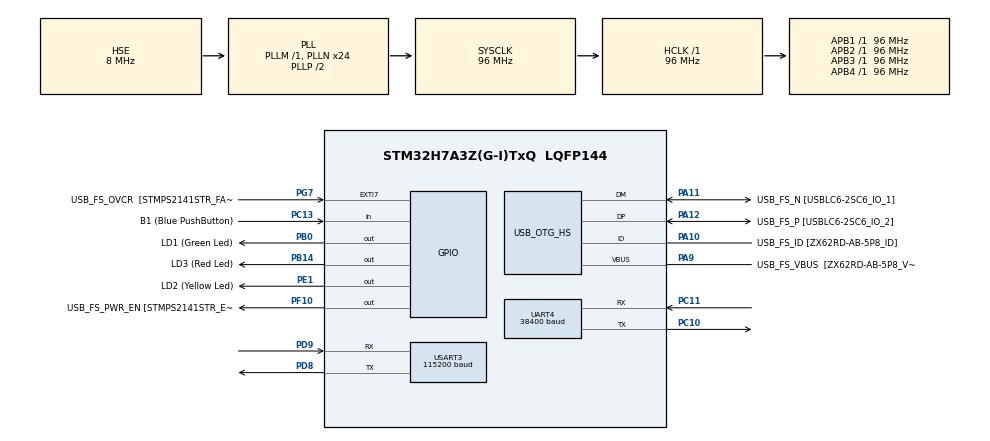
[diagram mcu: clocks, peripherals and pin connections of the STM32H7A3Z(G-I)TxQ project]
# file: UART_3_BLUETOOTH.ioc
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Mcu.Family=STM32H7
Mcu.Name=STM32H7A3Z(G-I)TxQ
Mcu.Package=LQFP144
NVIC.PriorityGroup=NVIC_PRIORITYGROUP_4
NVIC.UART4_IRQn=true\:0\:0\:false\:false\:true\:true\:true\:true
NVIC.USART3_IRQn=true\:0\:0\:false\:false\:true\:true\:true\:true
PA10.GPIO_Label=USB_FS_ID [ZX62RD-AB-5P8_ID]
PA10.Mode=OTG/Dual-Role-Device-FS
PA10.Signal=USB_OTG_HS_ID
PA11.GPIO_Label=USB_FS_N [USBLC6-2SC6_IO_1]
PA11.Mode=OTG/Dual-Role-Device-FS
PA11.Signal=USB_OTG_HS_DM
PA12.GPIO_Label=USB_FS_P [USBLC6-2SC6_IO_2]
PA12.Mode=OTG/Dual-Role-Device-FS
PA12.Signal=USB_OTG_HS_DP
PA9.GPIO_Label=USB_FS_VBUS  [ZX62RD-AB-5P8_VBUS]
PA9.Mode=Activate_VBUS_FS
PA9.Signal=USB_OTG_HS_VBUS
PB0.GPIO_Label=LD1 (Green Led)
PB0.Signal=GPIO_Output
PB14.GPIO_Label=LD3 (Red Led)
PB14.Signal=GPIO_Output
PC10.Mode=Asynchronous
PC10.Signal=UART4_TX
PC11.Mode=Asynchronous
PC11.Signal=UART4_RX
PC13.GPIO_Label=B1 (Blue PushButton)
PC13.Signal=GPIO_Input
PC14-OSC32_IN.GPIO_Label=OSC32_IN
PC14-OSC32_IN.Signal=RCC_OSC32_IN
PC15-OSC32_OUT.GPIO_Label=OSC32_OUT
PC15-OSC32_OUT.Signal=RCC_OSC32_OUT
PD8.Mode=Asynchronous
PD8.Signal=USART3_TX
PD9.Mode=Asynchronous
PD9.Signal=USART3_RX
PE1.GPIO_Label=LD2 (Yellow Led)
PE1.Signal=GPIO_Output
PF10.GPIO_Label=USB_FS_PWR_EN [STMPS2141STR_EN]
PF10.Signal=GPIO_Output
PG7.GPIO_Label=USB_FS_OVCR  [STMPS2141STR_FAULT]
PG7.Signal=GPXTI7
PH0-OSC_IN.GPIO_Label=PH0-MCU
PH0-OSC_IN.Mode=HSE-External-Oscillator
PH0-OSC_IN.Signal=RCC_OSC_IN
PH1-OSC_OUT.GPIO_Label=PH1-MCU
PH1-OSC_OUT.Mode=HSE-External-Oscillator
PH1-OSC_OUT.Signal=RCC_OSC_OUT
ProjectManager.HeapSize=0x200
ProjectManager.StackSize=0x400
ProjectManager.TargetToolchain=STM32CubeIDE
RCC.ADCFreq_Value=16125000
RCC.APB1Freq_Value=96000000
RCC.APB2Freq_Value=96000000
RCC.APB3Freq_Value=96000000
RCC.APB4Freq_Value=96000000
RCC.CortexFreq_Value=96000000
RCC.DIVM1=1
RCC.DIVM3=1
RCC.DIVN1=24
RCC.DIVN3=24
RCC.DIVQ1=4
RCC.HCLKFreq_Value=96000000
RCC.HSE_VALUE=8000000
RCC.PLLFRACN=0
RCC.PLLSourceVirtual=RCC_PLLSOURCE_HSE
RCC.PWR_Regulator_Voltage_Scale=PWR_REGULATOR_VOLTAGE_SCALE0
RCC.SYSCLKFreq_VALUE=96000000
RCC.SYSCLKSource=RCC_SYSCLKSOURCE_PLLCLK
RCC.SupplySource=PWR_DIRECT_SMPS_SUPPLY
RCC.USBCLockSelection=RCC_USBCLKSOURCE_HSI48
RCC.USBFreq_Value=48000000
UART4.BaudRate=38400
USART3.BaudRate=115200
USART3.VirtualMode-Asynchronous=VM_ASYNC
board=NUCLEO-H7A3ZI-Q

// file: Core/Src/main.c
/* USER CODE BEGIN Header */
/**
  ******************************************************************************
  * @file           : main.c
  * @brief          : Main program body
  ******************************************************************************
  * @attention
  *
  * Copyright (c) 2024 STMicroelectronics.
  * All rights reserved.
  *
  * This software is licensed under terms that can be found in the LICENSE file
  * in the root directory of this software component.
  * If no LICENSE file comes with this software, it is provided AS-IS.
  *
  ******************************************************************************
  */
/* USER CODE END Header */
#include "main.h"
#include "usart.h"
#include "usb_otg.h"
#include "gpio.h"

/* USER CODE BEGIN PV */
uint8_t txdata[30]="Un jour ca va marcher !\n\r";
uint8_t uart3_Rx_Buffer[1];
uint8_t uart3_Tx_Buffer[1];
uint8_t uart4_Rx_Buffer[1];
uint8_t uart4_Tx_Buffer[1];

/* USER CODE END PV */

void SystemClock_Config(void);

int main(void)
{

  /* MCU Configuration--------------------------------------------------------*/

  /* Reset of all peripherals, Initializes the Flash interface and the Systick. */
  HAL_Init();

  /* Configure the system clock */
  SystemClock_Config();

  /* Initialize all configured peripherals */
  MX_GPIO_Init();
  MX_USART3_UART_Init();
  MX_USB_OTG_HS_USB_Init();
  MX_UART4_Init();
  /* USER CODE BEGIN 2 */

  HAL_UART_Transmit(&huart3, "Hello World\r\n", 13, 100);

  HAL_UART_Receive_IT(&huart3, uart3_Rx_Buffer, 1);
  HAL_UART_Receive_IT(&huart4, uart4_Rx_Buffer, 1);

  /* USER CODE END 2 */

  /* Infinite loop */
  /* USER CODE BEGIN WHILE */
  while (1)
  {
	  HAL_GPIO_TogglePin(LD3_GPIO_Port, LD3_Pin);
	  HAL_Delay(1000);

    /* USER CODE END WHILE */

  }
}

void SystemClock_Config(void)
{
  RCC_OscInitTypeDef RCC_OscInitStruct = {0};
  RCC_ClkInitTypeDef RCC_ClkInitStruct = {0};

  /*AXI clock gating */
  RCC->CKGAENR = 0xFFFFFFFF;

  /** Supply configuration update enable
  */
  HAL_PWREx_ConfigSupply(PWR_DIRECT_SMPS_SUPPLY);

  /** Configure the main internal regulator output voltage
  */
  __HAL_PWR_VOLTAGESCALING_CONFIG(PWR_REGULATOR_VOLTAGE_SCALE0);

  while(!__HAL_PWR_GET_FLAG(PWR_FLAG_VOSRDY)) {}

  /** Initializes the RCC Oscillators according to the specified parameters
  * in the RCC_OscInitTypeDef structure.
  */
  RCC_OscInitStruct.OscillatorType = RCC_OSCILLATORTYPE_HSI48|RCC_OSCILLATORTYPE_HSE;
  RCC_OscInitStruct.HSEState = RCC_HSE_ON;
  RCC_OscInitStruct.HSI48State = RCC_HSI48_ON;
  RCC_OscInitStruct.PLL.PLLState = RCC_PLL_ON;
  RCC_OscInitStruct.PLL.PLLSource = RCC_PLLSOURCE_HSE;
  RCC_OscInitStruct.PLL.PLLM = 1;
  RCC_OscInitStruct.PLL.PLLN = 24;
  RCC_OscInitStruct.PLL.PLLP = 2;
  RCC_OscInitStruct.PLL.PLLQ = 4;
  RCC_OscInitStruct.PLL.PLLR = 2;
  RCC_OscInitStruct.PLL.PLLRGE = RCC_PLL1VCIRANGE_3;
  RCC_OscInitStruct.PLL.PLLVCOSEL = RCC_PLL1VCOWIDE;
  RCC_OscInitStruct.PLL.PLLFRACN = 0;
  if (HAL_RCC_OscConfig(&RCC_OscInitStruct) != HAL_OK)
  {
    Error_Handler();
  }

  /** Initializes the CPU, AHB and APB buses clocks
  */
  RCC_ClkInitStruct.ClockType = RCC_CLOCKTYPE_HCLK|RCC_CLOCKTYPE_SYSCLK
                              |RCC_CLOCKTYPE_PCLK1|RCC_CLOCKTYPE_PCLK2
                              |RCC_CLOCKTYPE_D3PCLK1|RCC_CLOCKTYPE_D1PCLK1;
  RCC_ClkInitStruct.SYSCLKSource = RCC_SYSCLKSOURCE_PLLCLK;
  RCC_ClkInitStruct.SYSCLKDivider = RCC_SYSCLK_DIV1;
  RCC_ClkInitStruct.AHBCLKDivider = RCC_HCLK_DIV1;
  RCC_ClkInitStruct.APB3CLKDivider = RCC_APB3_DIV1;
  RCC_ClkInitStruct.APB1CLKDivider = RCC_APB1_DIV1;
  RCC_ClkInitStruct.APB2CLKDivider = RCC_APB2_DIV1;
  RCC_ClkInitStruct.APB4CLKDivider = RCC_APB4_DIV1;

  if (HAL_RCC_ClockConfig(&RCC_ClkInitStruct, FLASH_LATENCY_2) != HAL_OK)
  {
    Error_Handler();
  }
}

/* USER CODE BEGIN 4 */
void HAL_UART_RxCpltCallback(UART_HandleTypeDef *huart)
{
	if(huart->Instance == USART3){ // PC USB
		uart3_Tx_Buffer[0] = uart3_Rx_Buffer[0]; // Copy for echo
		uart4_Tx_Buffer[0] = uart3_Rx_Buffer[0];
		HAL_UART_Transmit(&huart3, uart3_Tx_Buffer, 1, 10);
		HAL_UART_Transmit(&huart4, uart4_Tx_Buffer, 1, 10);
		HAL_UART_Receive_IT(&huart3, uart3_Rx_Buffer, 1);
		HAL_GPIO_TogglePin(LD1_GPIO_Port, LD1_Pin);
	}
	else if(huart->Instance == UART4){ // HC-05
		uart3_Tx_Buffer[0] = uart4_Rx_Buffer[0];
		HAL_UART_Transmit(&huart3, uart3_Tx_Buffer, 1, 10);
		HAL_UART_Receive_IT(&huart4, uart4_Rx_Buffer, 1);
	}

}

/* USER CODE END 4 */

void Error_Handler(void)
{
  __disable_irq();
  while (1)
  {
  }
}
